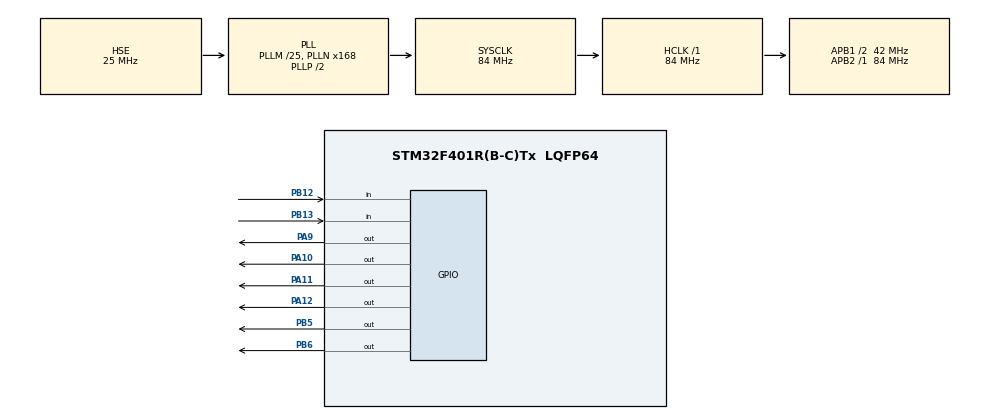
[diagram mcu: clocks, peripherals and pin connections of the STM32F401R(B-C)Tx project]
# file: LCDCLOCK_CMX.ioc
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Mcu.Family=STM32F4
Mcu.Name=STM32F401R(B-C)Tx
Mcu.Package=LQFP64
NVIC.PriorityGroup=NVIC_PRIORITYGROUP_4
NVIC.TIM2_IRQn=true\:0\:0\:false\:false\:true\:true\:true\:true
PA10.Signal=GPIO_Output
PA11.Signal=GPIO_Output
PA12.Signal=GPIO_Output
PA9.Signal=GPIO_Output
PB12.Signal=GPIO_Input
PB13.Signal=GPIO_Input
PB5.Signal=GPIO_Output
PB6.Signal=GPIO_Output
PC14-OSC32_IN.Mode=LSE-External-Oscillator
PC14-OSC32_IN.Signal=RCC_OSC32_IN
PC15-OSC32_OUT.Mode=LSE-External-Oscillator
PC15-OSC32_OUT.Signal=RCC_OSC32_OUT
PH0\ -\ OSC_IN.Mode=HSE-External-Oscillator
PH0\ -\ OSC_IN.Signal=RCC_OSC_IN
PH1\ -\ OSC_OUT.Mode=HSE-External-Oscillator
PH1\ -\ OSC_OUT.Signal=RCC_OSC_OUT
ProjectManager.HeapSize=0x200
ProjectManager.StackSize=0x400
ProjectManager.TargetToolchain=CMake
RCC.48MHZClocksFreq_Value=42000000
RCC.AHBFreq_Value=84000000
RCC.APB1CLKDivider=RCC_HCLK_DIV2
RCC.APB1Freq_Value=42000000
RCC.APB1TimFreq_Value=84000000
RCC.APB2Freq_Value=84000000
RCC.APB2TimFreq_Value=84000000
RCC.CortexFreq_Value=84000000
RCC.HCLKFreq_Value=84000000
RCC.HSE_VALUE=25000000
RCC.HSI_VALUE=16000000
RCC.PLLM=25
RCC.PLLN=168
RCC.PLLSourceVirtual=RCC_PLLSOURCE_HSE
RCC.RCC_RTC_Clock_Source=RCC_RTCCLKSOURCE_LSE
RCC.RCC_RTC_Clock_SourceVirtual=RCC_RTCCLKSOURCE_LSE
RCC.SYSCLKFreq_VALUE=84000000
RCC.SYSCLKSource=RCC_SYSCLKSOURCE_PLLCLK
RCC.VCOOutputFreq_Value=168000000
TIM1.Prescaler=83
TIM2.Period=1679999
VP_RTC_VS_RTC_Activate.Mode=RTC_Enabled
VP_TIM1_VS_ClockSourceINT.Mode=Internal
VP_TIM2_VS_ClockSourceINT.Mode=Internal
board=custom

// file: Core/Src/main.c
/* USER CODE BEGIN Header */
/**
  ******************************************************************************
  * @file           : main.c
  * @brief          : Main program body
  ******************************************************************************
  * @attention
  *
  * Copyright (c) 2026 STMicroelectronics.
  * All rights reserved.
  *
  * This software is licensed under terms that can be found in the LICENSE file
  * in the root directory of this software component.
  * If no LICENSE file comes with this software, it is provided AS-IS.
  *
  ******************************************************************************
  */
/* USER CODE END Header */
#include "main.h"

/* USER CODE BEGIN Includes */
#include <stdio.h>

#include "lcd_1602_driver.h"
#include <string.h>
/* USER CODE END Includes */

/* USER CODE BEGIN PTD */
typedef struct {uint8_t hour; uint8_t minute;} time_struct;
/* USER CODE END PTD */

RTC_HandleTypeDef hrtc;

TIM_HandleTypeDef htim1;
TIM_HandleTypeDef htim2;

/* USER CODE BEGIN PV */
uint8_t btn_set_state = 0; //Status of the Set Button
uint8_t btn_increment_state = 0; //Status of the Increment Button
uint8_t btn_set_down = 0; //If the button is kept down, this will enable.
uint8_t btn_increment_down = 0;

uint8_t lcd_update_pending = 0; // Whether if we need to Update the Display, Since Our Program basically tuns very fast
                                // Display cannot keep up with it, so we update it only when needed.
uint8_t lcd_clear_enable = 0;   // Only Clear When Needed.

uint8_t cnt = 0; // A Prescaler For the Display, As the tim2 interrupts at around every 20ms, we use this to Slow the Display even further.

// Initializing the LCD Structs
LCD_GPIO rs_pin = {.GPIO_PORT = GPIOB, .pin = GPIO_PIN_5};
LCD_GPIO en_pin = {.GPIO_PORT = GPIOB, .pin = GPIO_PIN_6};
LCD_GPIO D4_pin = {.GPIO_PORT = GPIOA, .pin = GPIO_PIN_9};
LCD_GPIO D5_pin = {.GPIO_PORT = GPIOA, .pin = GPIO_PIN_10};
LCD_GPIO D6_pin = {.GPIO_PORT = GPIOA, .pin = GPIO_PIN_11};
LCD_GPIO D7_pin = {.GPIO_PORT = GPIOA, .pin = GPIO_PIN_12};
lcd_4bit_struct theLCD = {.pin_rs = &rs_pin, .pin_en = &en_pin,
                        .pin_D4 = &D4_pin, .pin_D5 = &D5_pin, .pin_D6 = &D6_pin, .pin_D7 = &D7_pin,
                        .lcd_tim = &htim1,
                        .lcd_col = 16, .lcd_row = 2};

time_struct theTime = {0};
time_struct temp_time = {0};

// The State of the program.
enum {SET_HOUR = 0, SET_MINUTE = 1, CLOCK = 2} program_state;
/* USER CODE END PV */

void SystemClock_Config(void);
static void MX_GPIO_Init(void);
static void MX_RTC_Init(void);
static void MX_TIM1_Init(void);
static void MX_TIM2_Init(void);
void main_loop(void); // The Main Display
void setting_menu(void); // The Setting Menu
void set_time(time_struct time); // Set the time
time_struct get_time(void); //Get the time.

int main(void)
{

  /* MCU Configuration--------------------------------------------------------*/

  /* Reset of all peripherals, Initializes the Flash interface and the Systick. */
  HAL_Init();

  /* Configure the system clock */
  SystemClock_Config();

  /* Initialize all configured peripherals */
  MX_GPIO_Init();
  MX_RTC_Init();
  MX_TIM1_Init();
  MX_TIM2_Init();
  /* USER CODE BEGIN 2 */
  // We start the Timers in here
  HAL_TIM_Base_Start(&htim1);
  HAL_TIM_Base_Start_IT(&htim2);

  //Adding a 100ms delay, so that both the Power and all the peripherals Settle down.
  HAL_Delay(100);

  //We Init the Display and Clear it.
  lcd_init(&theLCD);
  lcd_clear(&theLCD);

  //We set the Program state, if the Backup register is empty, we switch to the time set.
  program_state = CLOCK;
  if (HAL_RTCEx_BKUPRead(&hrtc, RTC_BKP_DR1) != 0x2345) // If The RTC is not Set already
  {
    program_state = SET_HOUR;
  }
  /* USER CODE END 2 */

  /* Infinite loop */
  /* USER CODE BEGIN WHILE */
  while (1)
  {
    if (program_state == CLOCK)
      main_loop();
    else
      setting_menu();

    /* USER CODE END WHILE */

  }
}

void SystemClock_Config(void)
{
  RCC_OscInitTypeDef RCC_OscInitStruct = {0};
  RCC_ClkInitTypeDef RCC_ClkInitStruct = {0};

  /** Configure the main internal regulator output voltage
  */
  __HAL_RCC_PWR_CLK_ENABLE();
  __HAL_PWR_VOLTAGESCALING_CONFIG(PWR_REGULATOR_VOLTAGE_SCALE2);

  /** Initializes the RCC Oscillators according to the specified parameters
  * in the RCC_OscInitTypeDef structure.
  */
  RCC_OscInitStruct.OscillatorType = RCC_OSCILLATORTYPE_HSE|RCC_OSCILLATORTYPE_LSE;
  RCC_OscInitStruct.HSEState = RCC_HSE_ON;
  RCC_OscInitStruct.LSEState = RCC_LSE_ON;
  RCC_OscInitStruct.PLL.PLLState = RCC_PLL_ON;
  RCC_OscInitStruct.PLL.PLLSource = RCC_PLLSOURCE_HSE;
  RCC_OscInitStruct.PLL.PLLM = 25;
  RCC_OscInitStruct.PLL.PLLN = 168;
  RCC_OscInitStruct.PLL.PLLP = RCC_PLLP_DIV2;
  RCC_OscInitStruct.PLL.PLLQ = 4;
  if (HAL_RCC_OscConfig(&RCC_OscInitStruct) != HAL_OK)
  {
    Error_Handler();
  }

  /** Initializes the CPU, AHB and APB buses clocks
  */
  RCC_ClkInitStruct.ClockType = RCC_CLOCKTYPE_HCLK|RCC_CLOCKTYPE_SYSCLK
                              |RCC_CLOCKTYPE_PCLK1|RCC_CLOCKTYPE_PCLK2;
  RCC_ClkInitStruct.SYSCLKSource = RCC_SYSCLKSOURCE_PLLCLK;
  RCC_ClkInitStruct.AHBCLKDivider = RCC_SYSCLK_DIV1;
  RCC_ClkInitStruct.APB1CLKDivider = RCC_HCLK_DIV2;
  RCC_ClkInitStruct.APB2CLKDivider = RCC_HCLK_DIV1;

  if (HAL_RCC_ClockConfig(&RCC_ClkInitStruct, FLASH_LATENCY_2) != HAL_OK)
  {
    Error_Handler();
  }
}

static void MX_RTC_Init(void)
{

  /** Initialize RTC Only
  */
  hrtc.Instance = RTC;
  hrtc.Init.HourFormat = RTC_HOURFORMAT_24;
  hrtc.Init.AsynchPrediv = 127;
  hrtc.Init.SynchPrediv = 255;
  hrtc.Init.OutPut = RTC_OUTPUT_DISABLE;
  hrtc.Init.OutPutPolarity = RTC_OUTPUT_POLARITY_HIGH;
  hrtc.Init.OutPutType = RTC_OUTPUT_TYPE_OPENDRAIN;
  if (HAL_RTC_Init(&hrtc) != HAL_OK)
  {
    Error_Handler();
  }

}

static void MX_TIM1_Init(void)
{

  TIM_ClockConfigTypeDef sClockSourceConfig = {0};
  TIM_MasterConfigTypeDef sMasterConfig = {0};

  htim1.Instance = TIM1;
  htim1.Init.Prescaler = 83;
  htim1.Init.CounterMode = TIM_COUNTERMODE_UP;
  htim1.Init.Period = 65535;
  htim1.Init.ClockDivision = TIM_CLOCKDIVISION_DIV1;
  htim1.Init.RepetitionCounter = 0;
  htim1.Init.AutoReloadPreload = TIM_AUTORELOAD_PRELOAD_DISABLE;
  if (HAL_TIM_Base_Init(&htim1) != HAL_OK)
  {
    Error_Handler();
  }
  sClockSourceConfig.ClockSource = TIM_CLOCKSOURCE_INTERNAL;
  if (HAL_TIM_ConfigClockSource(&htim1, &sClockSourceConfig) != HAL_OK)
  {
    Error_Handler();
  }
  sMasterConfig.MasterOutputTrigger = TIM_TRGO_RESET;
  sMasterConfig.MasterSlaveMode = TIM_MASTERSLAVEMODE_DISABLE;
  if (HAL_TIMEx_MasterConfigSynchronization(&htim1, &sMasterConfig) != HAL_OK)
  {
    Error_Handler();
  }

}

static void MX_TIM2_Init(void)
{

  TIM_ClockConfigTypeDef sClockSourceConfig = {0};
  TIM_MasterConfigTypeDef sMasterConfig = {0};

  htim2.Instance = TIM2;
  htim2.Init.Prescaler = 0;
  htim2.Init.CounterMode = TIM_COUNTERMODE_UP;
  htim2.Init.Period = 1679999;
  htim2.Init.ClockDivision = TIM_CLOCKDIVISION_DIV1;
  htim2.Init.AutoReloadPreload = TIM_AUTORELOAD_PRELOAD_DISABLE;
  if (HAL_TIM_Base_Init(&htim2) != HAL_OK)
  {
    Error_Handler();
  }
  sClockSourceConfig.ClockSource = TIM_CLOCKSOURCE_INTERNAL;
  if (HAL_TIM_ConfigClockSource(&htim2, &sClockSourceConfig) != HAL_OK)
  {
    Error_Handler();
  }
  sMasterConfig.MasterOutputTrigger = TIM_TRGO_RESET;
  sMasterConfig.MasterSlaveMode = TIM_MASTERSLAVEMODE_DISABLE;
  if (HAL_TIMEx_MasterConfigSynchronization(&htim2, &sMasterConfig) != HAL_OK)
  {
    Error_Handler();
  }

}

static void MX_GPIO_Init(void)
{
  GPIO_InitTypeDef GPIO_InitStruct = {0};

  /* GPIO Ports Clock Enable */
  __HAL_RCC_GPIOC_CLK_ENABLE();
  __HAL_RCC_GPIOH_CLK_ENABLE();
  __HAL_RCC_GPIOB_CLK_ENABLE();
  __HAL_RCC_GPIOA_CLK_ENABLE();

  /*Configure GPIO pin Output Level */
  HAL_GPIO_WritePin(GPIOA, GPIO_PIN_9|GPIO_PIN_10|GPIO_PIN_11|GPIO_PIN_12, GPIO_PIN_RESET);

  /*Configure GPIO pin Output Level */
  HAL_GPIO_WritePin(GPIOB, GPIO_PIN_5|GPIO_PIN_6, GPIO_PIN_RESET);

  /*Configure GPIO pins : PB12 PB13 */
  GPIO_InitStruct.Pin = GPIO_PIN_12|GPIO_PIN_13;
  GPIO_InitStruct.Mode = GPIO_MODE_INPUT;
  GPIO_InitStruct.Pull = GPIO_NOPULL;
  HAL_GPIO_Init(GPIOB, &GPIO_InitStruct);

  /*Configure GPIO pins : PA9 PA10 PA11 PA12 */
  GPIO_InitStruct.Pin = GPIO_PIN_9|GPIO_PIN_10|GPIO_PIN_11|GPIO_PIN_12;
  GPIO_InitStruct.Mode = GPIO_MODE_OUTPUT_PP;
  GPIO_InitStruct.Pull = GPIO_NOPULL;
  GPIO_InitStruct.Speed = GPIO_SPEED_FREQ_LOW;
  HAL_GPIO_Init(GPIOA, &GPIO_InitStruct);

  /*Configure GPIO pins : PB5 PB6 */
  GPIO_InitStruct.Pin = GPIO_PIN_5|GPIO_PIN_6;
  GPIO_InitStruct.Mode = GPIO_MODE_OUTPUT_PP;
  GPIO_InitStruct.Pull = GPIO_NOPULL;
  GPIO_InitStruct.Speed = GPIO_SPEED_FREQ_LOW;
  HAL_GPIO_Init(GPIOB, &GPIO_InitStruct);

}

/* USER CODE BEGIN 4 */
void HAL_TIM_PeriodElapsedCallback(TIM_HandleTypeDef* htim)
{
  //Every 20ms Sample the Button states.
  btn_increment_state = HAL_GPIO_ReadPin(GPIOB, GPIO_PIN_13);
  btn_set_state = HAL_GPIO_ReadPin(GPIOB, GPIO_PIN_12);

  //Every 100ms, Issue an Update to the LCD.
  if (cnt == 4)
  {
    lcd_update_pending = 1;
    cnt = 0;
  }
  else
  {
    cnt++;
  }
}

void main_loop(void)
{
  //If LCD Has a pending Update, Update it.
  if (lcd_update_pending == 1)
  {
    //Read the time.
    theTime = get_time();
    //We don't need the clearing, however it's still included.
    if ((theTime.minute < 10) && (lcd_clear_enable == 1))
    {
      lcd_clear(&theLCD);
      lcd_clear_enable = 0;
    }
    if (theTime.minute > 10 && (lcd_clear_enable == 0))
    {
      lcd_clear_enable = 1;
    }

    //Printing the Title
    lcd_set_cursor(&theLCD, 0, 0);
    lcd_print(&theLCD, "Time Now");

    //Printing the Time
    lcd_set_cursor(&theLCD, 0, 1);
    char x[16];
    x[15] = '\0';
    sprintf(x, "%02d:%02d", theTime.hour, theTime.minute);
    lcd_print(&theLCD, x);

    //Set the Update flag to 0, We have Serviced the Incoming LCD Update.
    lcd_update_pending = 0;
  }

  // If the Setting Button is Pressed, but Wasn't Held down before.
  if (btn_set_state == 1 && !btn_set_down)
  {
    lcd_blink_on(&theLCD);
    lcd_clear(&theLCD);
    temp_time = get_time();
    btn_set_down = 1;
    program_state = SET_HOUR;
  }
  if (!btn_set_state)
  {
    btn_set_down = 0;
  }
}

void setting_menu(void)
{
  //If LCD Has a pending Update, Update it.
  if (lcd_update_pending == 1)
  {
    if (lcd_clear_enable)
    {
      lcd_clear(&theLCD);
      lcd_clear_enable = 0;
    }
    //pps is the Cursor Position
    uint8_t pps = 0;
    lcd_set_cursor(&theLCD, 0, 0);
    lcd_print(&theLCD, "Set Clock ");
    if (program_state == SET_HOUR)
    {
      lcd_print(&theLCD, "HR");
      pps = 1;
    }
    else if (program_state == SET_MINUTE)
    {
      lcd_print(&theLCD, "Min");
      pps = 4;
    }

    //Printing the Time
    lcd_set_cursor(&theLCD, 0, 1);
    char x[16];
    x[15] = '\0';
    sprintf(x, "%02d:%02d", temp_time.hour, temp_time.minute);
    lcd_print(&theLCD, x);
    lcd_set_cursor(&theLCD, pps, 1);

    //Set the Update flag to 0, We have Serviced the Incoming LCD Update.
    lcd_update_pending = 0;
  }

  // If the Setting Button is Pressed, but Wasn't Held down before.
  if (btn_set_state == 1 && !btn_set_down)
  {
    btn_set_down = 1;
    //We Switch to the Next state in here
    //If the Program state is SET_MINUTE, and we press the SET BTN,
    //We Go back to the Main Clock and Save the Time that was set in here.
    switch (program_state)
    {
      case SET_HOUR:
        program_state = SET_MINUTE;
        break;
      case SET_MINUTE:
        program_state = CLOCK;
        set_time(temp_time);
        lcd_blink_off(&theLCD);
        lcd_clear(&theLCD);
        break;
      case CLOCK:
        break;
    }
  }
  if (!btn_set_state)
  {
    btn_set_down = 0;
  }

  // If the Increment Button is Pressed, but Wasn't Held down before.
  if (btn_increment_state == 1 && !btn_increment_down)
  {
    btn_increment_down = 1;
    // We Increment the Specified part of the time, with respect to the program state.
    // if State is SET_HOUR, We increment the Hour part
    // if State is SET_MINUTE, We Increment the Minute part
    switch (program_state)
    {
    case SET_HOUR:
      temp_time.hour++;
      if (temp_time.hour > 23)
      {
        temp_time.hour = 0;
        lcd_clear_enable = 1;
      }
      break;
    case SET_MINUTE:
      temp_time.minute++;
      if (temp_time.minute > 59)
      {
        temp_time.minute = 0;
        lcd_clear_enable = 1;
      }
      break;
    case CLOCK:
      break;
    }
  }
  if (!btn_increment_state)
  {
    btn_increment_down = 0;
  }
}

void set_time(time_struct time)
{
  RTC_TimeTypeDef sTime = {0};
  sTime.Hours = time.hour;
  sTime.Minutes = time.minute;
  sTime.Seconds = 0;
  sTime.DayLightSaving = RTC_DAYLIGHTSAVING_NONE;
  sTime.StoreOperation = RTC_STOREOPERATION_RESET;
  if (HAL_RTC_SetTime(&hrtc, &sTime, RTC_FORMAT_BIN) != HAL_OK)
  {
    Error_Handler();
  }

  //We write Data to the Backup register of the rtc to indicate that we don't need to Adjust the time at boot.
  HAL_RTCEx_BKUPWrite(&hrtc, RTC_BKP_DR1, 0x2345);  // backup register
}

time_struct get_time(void)
{
  //We Read the time from RTC.
  //Note that it is very important that You read both the Time and The Date, even if the Date is not needed.
  //As Not Reading Either one of them, causes the RTC to Lock up.
  RTC_DateTypeDef gDate;
  RTC_TimeTypeDef gTime;

  /* Get the RTC current Time */
  HAL_RTC_GetTime(&hrtc, &gTime, RTC_FORMAT_BIN);
  /* Get the RTC current Date */
  HAL_RTC_GetDate(&hrtc, &gDate, RTC_FORMAT_BIN);

  time_struct x = {.hour = gTime.Hours, .minute = gTime.Minutes};
  return x;
}
/* USER CODE END 4 */

void Error_Handler(void)
{
  __disable_irq();
  while (1)
  {
  }
}
